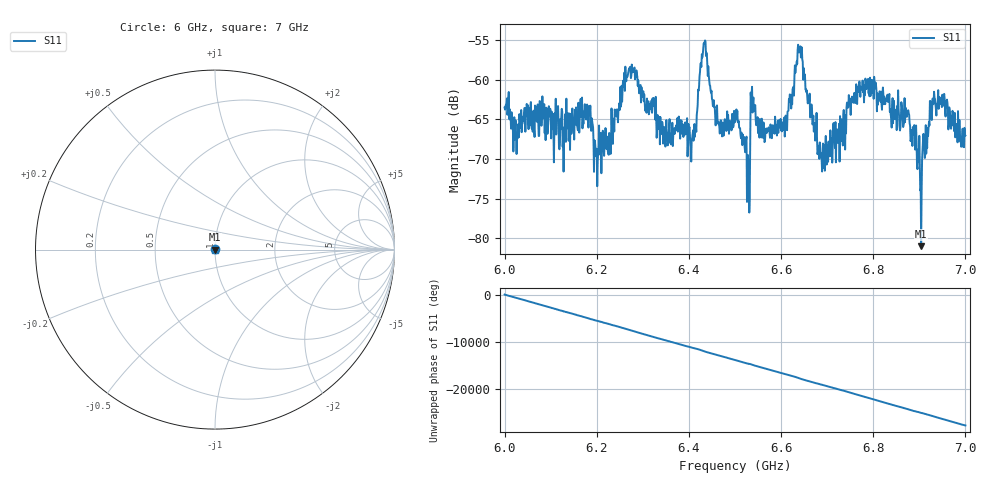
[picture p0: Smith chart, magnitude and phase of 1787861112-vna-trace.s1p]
! Created with skrf 1.10.0 (http://scikit-rf.org).
# Hz S RI R 50.0
!freq ReS11 ImS11
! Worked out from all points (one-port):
!   1001 points, 6 GHz to 7 GHz, reference 50 ohm
!   lowest |S11| = -81.0 dB at 6.904 GHz (marker M1), VSWR 1.00, Z = 50 + j0.00813 ohm
!   |S11| at or under -10 dB: start of sweep to end of sweep
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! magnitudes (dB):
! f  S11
! 6 GHz  -63.5
! 6.023 GHz  -65.8
! 6.081 GHz  -65.0
! 6.125 GHz  -64.0
! 6.181 GHz  -64.4
! 6.199 GHz  -69.7
! 6.226 GHz  -69.5
! 6.25 GHz  -63.8
! 6.277 GHz  -59.1
! 6.349 GHz  -68.4
! 6.375 GHz  -64.8
! 6.408 GHz  -66.8
! 6.433 GHz  -55.5
! 6.462 GHz  -65.2
! 6.5 GHz  -65.3
! 6.527 GHz  -70.4
! 6.539 GHz  -62.8
! 6.569 GHz  -66.7
! 6.608 GHz  -67.2
! 6.625 GHz  -61.2
! 6.641 GHz  -55.9
! 6.69 GHz  -68.8
! 6.75 GHz  -62.4
! 6.788 GHz  -60.2
! 6.875 GHz  -64.0
! 6.904 GHz  -81.0
! 6.928 GHz  -63.5
! 7 GHz  -67.0
